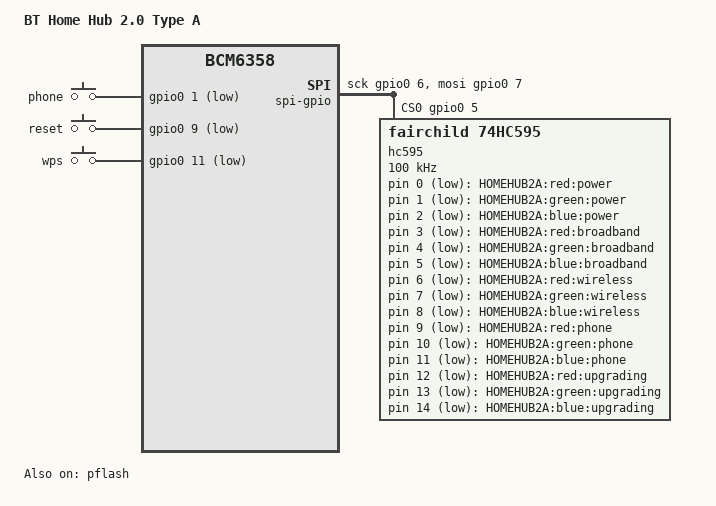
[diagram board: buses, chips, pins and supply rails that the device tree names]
/dts-v1/;

#include "bcm6358.dtsi"

#include <dt-bindings/input/input.h>

/ {
	model = "BT Home Hub 2.0 Type A";
	compatible = "thomson,homehub2a", "brcm,bcm6358";

	spi-gpio {
		#address-cells = <1>;
		#size-cells = <1>;
		compatible = "spi-gpio";

		gpio-mosi = <&gpio0 7 0>;
		gpio-sck = <&gpio0 6 0>;
		cs-gpios = <&gpio0 5 0>;
		num-chipselects = <1>;

		hc595: gpio-spi-controller@0 {
			compatible = "fairchild,74hc595";
			reg = <0>;
			registers-number = <2>;
			spi-max-frequency = <100000>;

			gpio-controller;
			#gpio-cells = <2>;
		};
	};

	gpio-keys-polled {
		compatible = "gpio-keys-polled";
		#address-cells = <1>;
		#size-cells = <0>;
		poll-interval = <20>;
		debounce-interval = <60>;

		phone {
			label = "phone";
			gpios = <&gpio0 1 1>;
			linux,code = <169>;
		};
		reset {
			label = "reset";
			gpios = <&gpio0 9 1>;
			linux,code = <KEY_RESTART>;
		};
		wps {
			label = "wps";
			gpios = <&gpio0 11 1>;
			linux,code = <KEY_WPS_BUTTON>;
		};
	};

	gpio-leds {
		compatible = "gpio-leds";

		power_red {
			label = "HOMEHUB2A:red:power";
			gpios = <&hc595 0 1>;
		};
		power_green {
			label = "HOMEHUB2A:green:power";
			gpios = <&hc595 1 1>;
			default-state = "on";
		};
		power_blue {
			label = "HOMEHUB2A:blue:power";
			gpios = <&hc595 2 1>;
		};
		broadband_red {
			label = "HOMEHUB2A:red:broadband";
			gpios = <&hc595 3 1>;
		};
		broadband_green {
			label = "HOMEHUB2A:green:broadband";
			gpios = <&hc595 4 1>;
		};
		broadband_blue {
			label = "HOMEHUB2A:blue:broadband";
			gpios = <&hc595 5 1>;
		};
		wireless_red {
			label = "HOMEHUB2A:red:wireless";
			gpios = <&hc595 6 1>;
		};
		wireless_green {
			label = "HOMEHUB2A:green:wireless";
			gpios = <&hc595 7 1>;
		};
		wireless_blue {
			label = "HOMEHUB2A:blue:wireless";
			gpios = <&hc595 8 1>;
		};
		phone_red {
			label = "HOMEHUB2A:red:phone";
			gpios = <&hc595 9 1>;
		};
		phone_green {
			label = "HOMEHUB2A:green:phone";
			gpios = <&hc595 10 1>;
		};
		phone_blue {
			label = "HOMEHUB2A:blue:phone";
			gpios = <&hc595 11 1>;
		};
		upgrading_red {
			label = "HOMEHUB2A:red:upgrading";
			gpios = <&hc595 12 1>;
		};
		upgrading_green {
			label = "HOMEHUB2A:green:upgrading";
			gpios = <&hc595 13 1>;
		};
		upgrading_blue {
			label = "HOMEHUB2A:blue:upgrading";
			gpios = <&hc595 14 1>;
		};
	};
};

&pflash {
	status = "ok";

	linux,part-probe = "bcm63xxpart";

	cfe@0 {
		label = "CFE";
		reg = <0x000000 0x020000>;
	};

	linux@20000 {
		label = "linux";
		reg = <0x020000 0xfc0000>;
	};

	nvram@fe0000 {
		label = "nvram";
		reg = <0xfe0000 0x020000>;
	};
};
